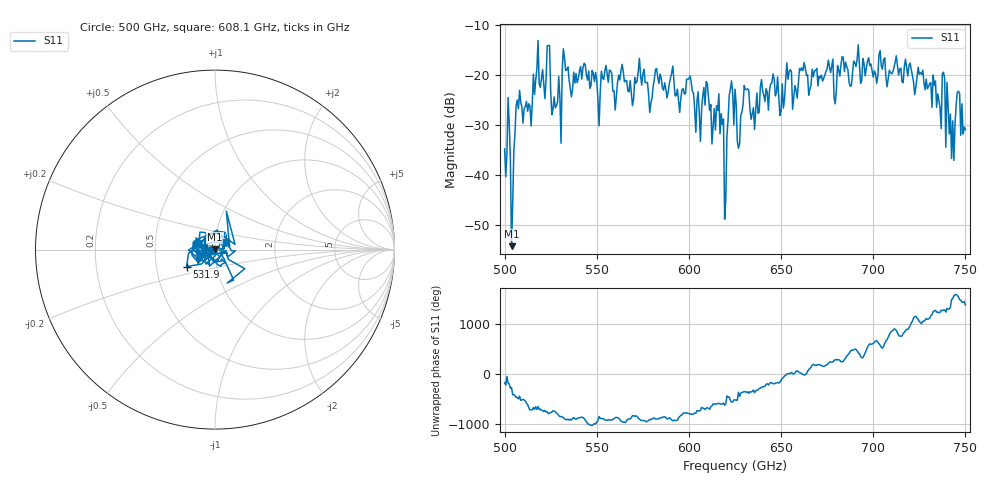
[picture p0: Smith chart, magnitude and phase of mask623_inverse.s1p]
!Created with skrf (http://scikit-rf.org).
# GHz S MA R 50.0
!freq magS11 angS11
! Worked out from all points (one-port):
!   401 points, 500 GHz to 750 GHz, reference 50 ohm
!   lowest |S11| = -54.3 dB at 503.8 GHz (marker M1), VSWR 1.00, Z = 50 + j0.193 ohm
!   |S11| at or under -10 dB: start of sweep to end of sweep
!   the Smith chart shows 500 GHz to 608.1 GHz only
!   S11 on the Smith chart (normalised r, x): 500 GHz: 0.96, -0.00; 531.9 GHz: 0.72, -0.14; 608.1 GHz: 1.13, +0.09
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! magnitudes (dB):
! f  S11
! 500 GHz  -34.8
! 501.9 GHz  -24.5
! 503.8 GHz  -54.3
! 507.5 GHz  -26.7
! 513.8 GHz  -26.2
! 516.9 GHz  -21.0
! 523.8 GHz  -14.0
! 526.9 GHz  -24.4
! 531.2 GHz  -19.1
! 531.9 GHz  -14.7
! 562.5 GHz  -20.9
! 593.8 GHz  -22.8
! 608.1 GHz  -22.5
! 617.5 GHz  -27.7
! 619.4 GHz  -48.9
! 622.5 GHz  -22.7
! 625 GHz  -22.8
! 627.5 GHz  -33.8
! 631.2 GHz  -22.9
! 635 GHz  -26.5
! 656.2 GHz  -26.8
! 687.5 GHz  -22.2
! 718.8 GHz  -20.1
! 735.6 GHz  -25.0
! 738.8 GHz  -20.6
! 742.5 GHz  -36.7
! 745.6 GHz  -23.4
! 750 GHz  -30.9
